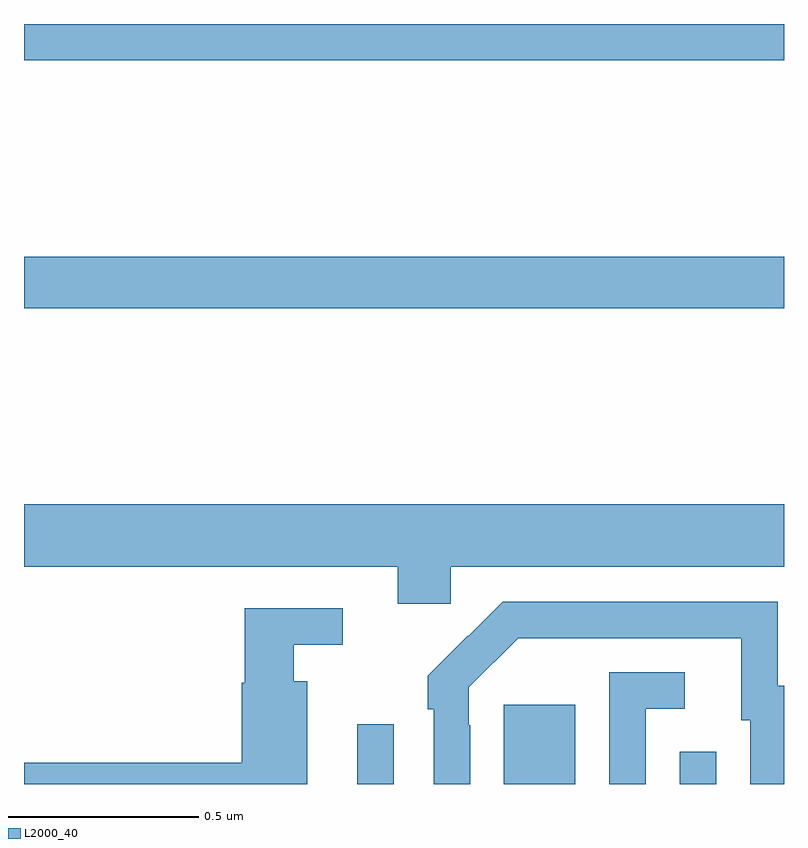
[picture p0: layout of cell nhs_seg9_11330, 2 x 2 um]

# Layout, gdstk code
import gdstk
lib = gdstk.Library(unit=1e-6, precision=1e-09)
def R(c, l, rs):  # rectangles x0, y0, x1, y1
    for r in rs: c.add(gdstk.rectangle(r[:2], r[2:], *l))
def P(c, l, *ps):  # polygons
    for p in ps: c.add(gdstk.Polygon(p, *l))
L2000_40 = (2000, 40)

nhs_seg9_11330 = lib.new_cell('nhs_seg9_11330')
R(nhs_seg9_11330, L2000_40, [(254.877,1210.5,254.973,1210.657), (255.263,1210.5,255.451,1210.708), (255.726,1210.5,255.822,1210.585), (254,1211.752,256,1211.888), (254,1212.404,256,1212.5)])
P(nhs_seg9_11330, L2000_40, [(255.123,1211.072),(256,1211.072),(256,1211.236),(254,1211.236),(254,1211.072),(254.984,1211.072),(254.984,1210.974),(255.123,1210.974)],
  [(255.174,1210.655),(255.171,1210.655),(255.171,1210.755),(255.3,1210.884),(255.887,1210.884),(255.887,1210.668),(255.911,1210.668),(255.911,1210.5),(256,1210.5),(256,1210.758),(255.984,1210.758),(255.984,1210.98),(255.26,1210.98),(255.169,1210.889),(255.168,1210.89),(255.063,1210.785),(255.063,1210.697),(255.078,1210.697),(255.078,1210.5),(255.174,1210.5)],
  [(254.746,1210.771),(254.71,1210.771),(254.71,1210.866),(254.839,1210.866),(254.839,1210.962),(254.581,1210.962),(254.581,1210.767),(254.573,1210.767),(254.573,1210.556),(254,1210.556),(254,1210.5),(254.746,1210.5)],
  [(255.636,1210.698),(255.739,1210.698),(255.739,1210.794),(255.54,1210.794),(255.54,1210.5),(255.636,1210.5)])

lib.write_gds('nhs_seg9_11330.gds')
